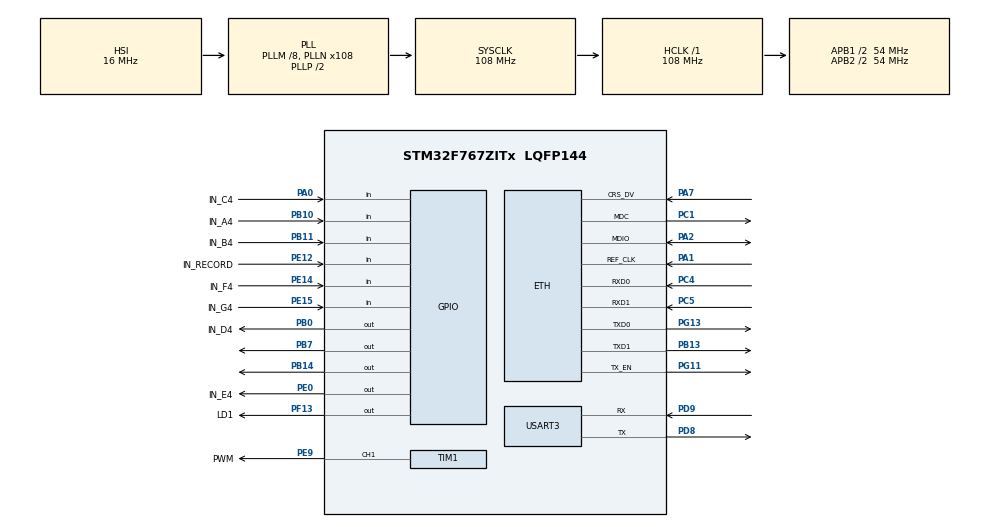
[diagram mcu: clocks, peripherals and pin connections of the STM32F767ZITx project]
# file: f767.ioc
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CORTEX_M7.default_mode_Activation=1
ETH.MediaInterface=HAL_ETH_RMII_MODE
FREERTOS.Tasks01=defaultTask,24,2048,StartDefaultTask,Default,NULL,Dynamic,NULL,NULL
FREERTOS.configTOTAL_HEAP_SIZE=65536
FREERTOS.configUSE_NEWLIB_REENTRANT=1
Mcu.Family=STM32F7
Mcu.Name=STM32F767ZITx
Mcu.Package=LQFP144
NVIC.ETH_IRQn=true\:5\:0\:false\:false\:false\:true\:true\:false\:true
NVIC.PriorityGroup=NVIC_PRIORITYGROUP_4
NVIC.TIM6_DAC_IRQn=true\:15\:0\:false\:false\:true\:false\:false\:true\:true
NVIC.TimeBase=TIM6_DAC_IRQn
NVIC.TimeBaseIP=TIM6
PA0/WKUP.GPIO_Label=IN_C4
PA0/WKUP.GPIO_PuPd=GPIO_PULLDOWN
PA0/WKUP.Signal=GPIO_Input
PA1.Mode=RMII
PA1.Signal=ETH_REF_CLK
PA2.Mode=RMII
PA2.Signal=ETH_MDIO
PA7.Mode=RMII
PA7.Signal=ETH_CRS_DV
PB0.GPIO_Label=IN_D4
PB0.GPIO_PuPd=GPIO_PULLDOWN
PB0.Signal=GPIO_Output
PB10.GPIO_Label=IN_A4
PB10.GPIO_PuPd=GPIO_PULLDOWN
PB10.Signal=GPIO_Input
PB11.GPIO_Label=IN_B4
PB11.GPIO_PuPd=GPIO_PULLDOWN
PB11.Signal=GPIO_Input
PB13.Mode=RMII
PB13.Signal=ETH_TXD1
PB14.Signal=GPIO_Output
PB7.Signal=GPIO_Output
PC1.Mode=RMII
PC1.Signal=ETH_MDC
PC4.Mode=RMII
PC4.Signal=ETH_RXD0
PC5.Mode=RMII
PC5.Signal=ETH_RXD1
PD8.Mode=Asynchronous
PD8.Signal=USART3_TX
PD9.Mode=Asynchronous
PD9.Signal=USART3_RX
PE0.GPIO_Label=IN_E4
PE0.GPIO_PuPd=GPIO_PULLDOWN
PE0.Signal=GPIO_Output
PE12.GPIO_Label=IN_RECORD
PE12.GPIO_PuPd=GPIO_PULLDOWN
PE12.Signal=GPIO_Input
PE14.GPIO_Label=IN_F4
PE14.GPIO_PuPd=GPIO_PULLDOWN
PE14.Signal=GPIO_Input
PE15.GPIO_Label=IN_G4
PE15.GPIO_PuPd=GPIO_PULLDOWN
PE15.Signal=GPIO_Input
PE9.GPIO_Label=PWM
PE9.Signal=S_TIM1_CH1
PF13.GPIO_Label=LD1
PF13.Signal=GPIO_Output
PG11.Mode=RMII
PG11.Signal=ETH_TX_EN
PG13.Mode=RMII
PG13.Signal=ETH_TXD0
PH0/OSC_IN.Mode=HSE-External-Oscillator
PH0/OSC_IN.Signal=RCC_OSC_IN
PH1/OSC_OUT.Mode=HSE-External-Oscillator
PH1/OSC_OUT.Signal=RCC_OSC_OUT
ProjectManager.HeapSize=0x200
ProjectManager.StackSize=0x400
ProjectManager.TargetToolchain=STM32CubeIDE
RCC.48MHZClocksFreq_Value=45000000
RCC.AHBFreq_Value=108000000
RCC.APB1CLKDivider=RCC_HCLK_DIV2
RCC.APB1Freq_Value=54000000
RCC.APB1TimFreq_Value=108000000
RCC.APB2CLKDivider=RCC_HCLK_DIV2
RCC.APB2Freq_Value=54000000
RCC.APB2TimFreq_Value=108000000
RCC.CortexFreq_Value=108000000
RCC.HCLKFreq_Value=108000000
RCC.HSE_VALUE=25000000
RCC.HSI_VALUE=16000000
RCC.LSE_VALUE=32768
RCC.PLLM=8
RCC.PLLN=108
RCC.PLLQ=5
RCC.SYSCLKFreq_VALUE=108000000
RCC.SYSCLKSource=RCC_SYSCLKSOURCE_PLLCLK
RCC.USBFreq_Value=43200000
RCC.VCOOutputFreq_Value=216000000
SH.S_TIM1_CH1.0=TIM1_CH1,PWM Generation1 CH1
TIM1.Channel-PWM\ Generation1\ CH1=TIM_CHANNEL_1
TIM1.Period=3822
TIM1.Prescaler=108-1
USART3.VirtualMode=VM_ASYNC
USART3.VirtualMode-Asynchronous=VM_ASYNC
VP_FREERTOS_VS_CMSIS_V2.Mode=CMSIS_V2
VP_RNG_VS_RNG.Mode=RNG_Activate
VP_SYS_VS_tim6.Mode=TIM6
VP_TIM1_VS_ClockSourceINT.Mode=Internal
board=custom

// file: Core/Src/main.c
/* USER CODE BEGIN Header */
/**
  ******************************************************************************
  * @file           : main.c
  * @brief          : Main program body
  ******************************************************************************
  * @attention
  *
  * Copyright (c) 2024 STMicroelectronics.
  * All rights reserved.
  *
  * This software is licensed under terms that can be found in the LICENSE file
  * in the root directory of this software component.
  * If no LICENSE file comes with this software, it is provided AS-IS.
  *
  ******************************************************************************
  */
/* USER CODE END Header */
#include "main.h"
#include "string.h"
#include "cmsis_os.h"

/* USER CODE BEGIN Includes */
#include "mongoose_glue.h"
#include <stdbool.h>
#include <stdio.h>
/* USER CODE END Includes */

/* USER CODE BEGIN PTD */
typedef struct {
  uint32_t start;
  uint32_t end;
} Interval;

typedef struct {
  Interval intervals[MAX_INTERVALS];
  uint32_t count;
  uint32_t index;
} Recording;

/* USER CODE END PTD */

#if defined ( __ICCARM__ ) /*!< IAR Compiler */
#pragma location=0x2007c000
ETH_DMADescTypeDef  DMARxDscrTab[ETH_RX_DESC_CNT]; /* Ethernet Rx DMA Descriptors */
#pragma location=0x2007c0a0
ETH_DMADescTypeDef  DMATxDscrTab[ETH_TX_DESC_CNT]; /* Ethernet Tx DMA Descriptors */

#elif defined ( __CC_ARM )  /* MDK ARM Compiler */

__attribute__((at(0x2007c000))) ETH_DMADescTypeDef  DMARxDscrTab[ETH_RX_DESC_CNT]; /* Ethernet Rx DMA Descriptors */
__attribute__((at(0x2007c0a0))) ETH_DMADescTypeDef  DMATxDscrTab[ETH_TX_DESC_CNT]; /* Ethernet Tx DMA Descriptors */

#elif defined ( __GNUC__ ) /* GNU Compiler */

ETH_DMADescTypeDef DMARxDscrTab[ETH_RX_DESC_CNT] __attribute__((section(".RxDecripSection"))); /* Ethernet Rx DMA Descriptors */
ETH_DMADescTypeDef DMATxDscrTab[ETH_TX_DESC_CNT] __attribute__((section(".TxDecripSection")));   /* Ethernet Tx DMA Descriptors */
#endif

ETH_TxPacketConfig TxConfig;

ETH_HandleTypeDef heth;

RNG_HandleTypeDef hrng;

TIM_HandleTypeDef htim1;

UART_HandleTypeDef huart3;

/* Definitions for defaultTask */
osThreadId_t defaultTaskHandle;
const osThreadAttr_t defaultTask_attributes = {
  .name = "defaultTask",
  .stack_size = 2048 * 4,
  .priority = (osPriority_t) osPriorityNormal,
};
/* USER CODE BEGIN PV */
Recording recordings[KEYS_COUNT] = {0};
bool recording_active[KEYS_COUNT] = {0};

bool prev_key_states[KEYS_COUNT] = {0};
uint32_t note_timestamps[KEYS_COUNT] = {0};

uint32_t record_start = 0;
uint32_t play_start = 0;

GPIO_TypeDef *ports[KEYS_COUNT] = {IN_C4_GPIO_Port, IN_D4_GPIO_Port, IN_E4_GPIO_Port, IN_F4_GPIO_Port, IN_G4_GPIO_Port, IN_A4_GPIO_Port, IN_B4_GPIO_Port};
uint16_t pins[KEYS_COUNT] = {IN_C4_Pin, IN_D4_Pin, IN_E4_Pin, IN_F4_Pin, IN_G4_Pin, IN_A4_Pin, IN_B4_Pin};
uint16_t notes[KEYS_COUNT] = {NOTE_C4, NOTE_D4, NOTE_E4, NOTE_F4, NOTE_G4, NOTE_A4, NOTE_B4};

uint16_t arr = 0;
uint16_t pwm = 0;
/* USER CODE END PV */

void SystemClock_Config(void);
static void MPU_Config(void);
static void MX_GPIO_Init(void);
static void MX_ETH_Init(void);
static void MX_RNG_Init(void);
static void MX_USART3_UART_Init(void);
static void MX_TIM1_Init(void);
void StartDefaultTask(void *argument);

/* USER CODE BEGIN PFP */

/* USER CODE BEGIN PFP */
void my_get_button_input(struct button_input *data)
{
    // Map your note_timestamps array indices directly to your struct fields
    // 0 = C4, 1 = D4, 2 = E4, 3 = F4, 4 = G4, 5 = A4, 6 = B4
    data->timestamp_C4 = (int)note_timestamps[0]/1000;
    data->timestamp_D4 = (int)note_timestamps[1]/1000;
    data->timestamp_E4 = (int)note_timestamps[2]/1000;
    data->timestamp_F4 = (int)note_timestamps[3]/1000;
    data->timestamp_G4 = (int)note_timestamps[4]/1000;
    data->timestamp_A4 = (int)note_timestamps[5]/1000;
    data->timestamp_B4 = (int)note_timestamps[6]/1000;
}
/* USER CODE END PFP */

/* USER CODE BEGIN 0 */

void compute_arr_and_pwm(uint16_t *arr, uint16_t *pwm, uint16_t note);
void play_sound(uint16_t *arr, uint16_t *pwm, uint16_t note);

bool mg_random(void *buf, size_t len) {  // Use on-board RNG
  for (size_t n = 0; n < len; n += sizeof(uint32_t)) {
    uint32_t r;
    HAL_RNG_GenerateRandomNumber(&hrng, &r);
    memcpy((char *) buf + n, &r, n + sizeof(r) > len ? len - n : sizeof(r));
  }
  return true; // TODO(): ensure successful RNG init, then return on false above
}

int _write(int fd, unsigned char *buf, int len) {
  if (fd == 1 || fd == 2) {                     // stdout or stderr ?
    HAL_UART_Transmit(&huart3, buf, len, 999);  // Print to the UART
  }
  return len;
}

/* USER CODE END 0 */

int main(void)
{

  /* MPU Configuration--------------------------------------------------------*/
  MPU_Config();

  /* MCU Configuration--------------------------------------------------------*/

  /* Reset of all peripherals, Initializes the Flash interface and the Systick. */
  HAL_Init();

  /* Configure the system clock */
  SystemClock_Config();

  /* Initialize all configured peripherals */
  MX_GPIO_Init();
  MX_ETH_Init();
  MX_RNG_Init();
  MX_USART3_UART_Init();
  MX_TIM1_Init();
  /* USER CODE BEGIN 2 */

   HAL_TIM_PWM_Start(&htim1, TIM_CHANNEL_1);
  /* USER CODE END 2 */

  /* Init scheduler */
  osKernelInitialize();

  /* Create the thread(s) */
  /* creation of defaultTask */
  defaultTaskHandle = osThreadNew(StartDefaultTask, NULL, &defaultTask_attributes);

  /* Start scheduler */
  osKernelStart();

  /* We should never get here as control is now taken by the scheduler */

  /* Infinite loop */
  while (1)
  {

	   }
}

void SystemClock_Config(void)
{
  RCC_OscInitTypeDef RCC_OscInitStruct = {0};
  RCC_ClkInitTypeDef RCC_ClkInitStruct = {0};

  /** Configure the main internal regulator output voltage
  */
  __HAL_RCC_PWR_CLK_ENABLE();
  __HAL_PWR_VOLTAGESCALING_CONFIG(PWR_REGULATOR_VOLTAGE_SCALE3);

  /** Initializes the RCC Oscillators according to the specified parameters
  * in the RCC_OscInitTypeDef structure.
  */
  RCC_OscInitStruct.OscillatorType = RCC_OSCILLATORTYPE_HSI;
  RCC_OscInitStruct.HSIState = RCC_HSI_ON;
  RCC_OscInitStruct.HSICalibrationValue = RCC_HSICALIBRATION_DEFAULT;
  RCC_OscInitStruct.PLL.PLLState = RCC_PLL_ON;
  RCC_OscInitStruct.PLL.PLLSource = RCC_PLLSOURCE_HSI;
  RCC_OscInitStruct.PLL.PLLM = 8;
  RCC_OscInitStruct.PLL.PLLN = 108;
  RCC_OscInitStruct.PLL.PLLP = RCC_PLLP_DIV2;
  RCC_OscInitStruct.PLL.PLLQ = 5;
  RCC_OscInitStruct.PLL.PLLR = 2;
  if (HAL_RCC_OscConfig(&RCC_OscInitStruct) != HAL_OK)
  {
    Error_Handler();
  }

  /** Activate the Over-Drive mode
  */
  if (HAL_PWREx_EnableOverDrive() != HAL_OK)
  {
    Error_Handler();
  }

  /** Initializes the CPU, AHB and APB buses clocks
  */
  RCC_ClkInitStruct.ClockType = RCC_CLOCKTYPE_HCLK|RCC_CLOCKTYPE_SYSCLK
                              |RCC_CLOCKTYPE_PCLK1|RCC_CLOCKTYPE_PCLK2;
  RCC_ClkInitStruct.SYSCLKSource = RCC_SYSCLKSOURCE_PLLCLK;
  RCC_ClkInitStruct.AHBCLKDivider = RCC_SYSCLK_DIV1;
  RCC_ClkInitStruct.APB1CLKDivider = RCC_HCLK_DIV2;
  RCC_ClkInitStruct.APB2CLKDivider = RCC_HCLK_DIV2;

  if (HAL_RCC_ClockConfig(&RCC_ClkInitStruct, FLASH_LATENCY_3) != HAL_OK)
  {
    Error_Handler();
  }
}

static void MX_ETH_Init(void)
{

   static uint8_t MACAddr[6];

  heth.Instance = ETH;
  MACAddr[0] = 0x00;
  MACAddr[1] = 0x80;
  MACAddr[2] = 0xE1;
  MACAddr[3] = 0x00;
  MACAddr[4] = 0x00;
  MACAddr[5] = 0x00;
  heth.Init.MACAddr = &MACAddr[0];
  heth.Init.MediaInterface = HAL_ETH_RMII_MODE;
  heth.Init.TxDesc = DMATxDscrTab;
  heth.Init.RxDesc = DMARxDscrTab;
  heth.Init.RxBuffLen = 1524;

  if (HAL_ETH_Init(&heth) != HAL_OK)
  {
    Error_Handler();
  }

  memset(&TxConfig, 0 , sizeof(ETH_TxPacketConfig));
  TxConfig.Attributes = ETH_TX_PACKETS_FEATURES_CSUM | ETH_TX_PACKETS_FEATURES_CRCPAD;
  TxConfig.ChecksumCtrl = ETH_CHECKSUM_IPHDR_PAYLOAD_INSERT_PHDR_CALC;
  TxConfig.CRCPadCtrl = ETH_CRC_PAD_INSERT;

}

static void MX_RNG_Init(void)
{

  hrng.Instance = RNG;
  if (HAL_RNG_Init(&hrng) != HAL_OK)
  {
    Error_Handler();
  }

}

static void MX_TIM1_Init(void)
{

  TIM_ClockConfigTypeDef sClockSourceConfig = {0};
  TIM_MasterConfigTypeDef sMasterConfig = {0};
  TIM_OC_InitTypeDef sConfigOC = {0};
  TIM_BreakDeadTimeConfigTypeDef sBreakDeadTimeConfig = {0};

  htim1.Instance = TIM1;
  htim1.Init.Prescaler = 108-1;
  htim1.Init.CounterMode = TIM_COUNTERMODE_UP;
  htim1.Init.Period = 3822;
  htim1.Init.ClockDivision = TIM_CLOCKDIVISION_DIV1;
  htim1.Init.RepetitionCounter = 0;
  htim1.Init.AutoReloadPreload = TIM_AUTORELOAD_PRELOAD_DISABLE;
  if (HAL_TIM_Base_Init(&htim1) != HAL_OK)
  {
    Error_Handler();
  }
  sClockSourceConfig.ClockSource = TIM_CLOCKSOURCE_INTERNAL;
  if (HAL_TIM_ConfigClockSource(&htim1, &sClockSourceConfig) != HAL_OK)
  {
    Error_Handler();
  }
  if (HAL_TIM_PWM_Init(&htim1) != HAL_OK)
  {
    Error_Handler();
  }
  sMasterConfig.MasterOutputTrigger = TIM_TRGO_RESET;
  sMasterConfig.MasterOutputTrigger2 = TIM_TRGO2_RESET;
  sMasterConfig.MasterSlaveMode = TIM_MASTERSLAVEMODE_DISABLE;
  if (HAL_TIMEx_MasterConfigSynchronization(&htim1, &sMasterConfig) != HAL_OK)
  {
    Error_Handler();
  }
  sConfigOC.OCMode = TIM_OCMODE_PWM1;
  sConfigOC.Pulse = 0;
  sConfigOC.OCPolarity = TIM_OCPOLARITY_HIGH;
  sConfigOC.OCNPolarity = TIM_OCNPOLARITY_HIGH;
  sConfigOC.OCFastMode = TIM_OCFAST_DISABLE;
  sConfigOC.OCIdleState = TIM_OCIDLESTATE_RESET;
  sConfigOC.OCNIdleState = TIM_OCNIDLESTATE_RESET;
  if (HAL_TIM_PWM_ConfigChannel(&htim1, &sConfigOC, TIM_CHANNEL_1) != HAL_OK)
  {
    Error_Handler();
  }
  sBreakDeadTimeConfig.OffStateRunMode = TIM_OSSR_DISABLE;
  sBreakDeadTimeConfig.OffStateIDLEMode = TIM_OSSI_DISABLE;
  sBreakDeadTimeConfig.LockLevel = TIM_LOCKLEVEL_OFF;
  sBreakDeadTimeConfig.DeadTime = 0;
  sBreakDeadTimeConfig.BreakState = TIM_BREAK_DISABLE;
  sBreakDeadTimeConfig.BreakPolarity = TIM_BREAKPOLARITY_HIGH;
  sBreakDeadTimeConfig.BreakFilter = 0;
  sBreakDeadTimeConfig.Break2State = TIM_BREAK2_DISABLE;
  sBreakDeadTimeConfig.Break2Polarity = TIM_BREAK2POLARITY_HIGH;
  sBreakDeadTimeConfig.Break2Filter = 0;
  sBreakDeadTimeConfig.AutomaticOutput = TIM_AUTOMATICOUTPUT_DISABLE;
  if (HAL_TIMEx_ConfigBreakDeadTime(&htim1, &sBreakDeadTimeConfig) != HAL_OK)
  {
    Error_Handler();
  }
  HAL_TIM_MspPostInit(&htim1);

}

static void MX_USART3_UART_Init(void)
{

  huart3.Instance = USART3;
  huart3.Init.BaudRate = 115200;
  huart3.Init.WordLength = UART_WORDLENGTH_8B;
  huart3.Init.StopBits = UART_STOPBITS_1;
  huart3.Init.Parity = UART_PARITY_NONE;
  huart3.Init.Mode = UART_MODE_TX_RX;
  huart3.Init.HwFlowCtl = UART_HWCONTROL_NONE;
  huart3.Init.OverSampling = UART_OVERSAMPLING_16;
  huart3.Init.OneBitSampling = UART_ONE_BIT_SAMPLE_DISABLE;
  huart3.AdvancedInit.AdvFeatureInit = UART_ADVFEATURE_NO_INIT;
  if (HAL_UART_Init(&huart3) != HAL_OK)
  {
    Error_Handler();
  }

}

static void MX_GPIO_Init(void)
{
  GPIO_InitTypeDef GPIO_InitStruct = {0};

  /* GPIO Ports Clock Enable */
  __HAL_RCC_GPIOH_CLK_ENABLE();
  __HAL_RCC_GPIOC_CLK_ENABLE();
  __HAL_RCC_GPIOA_CLK_ENABLE();
  __HAL_RCC_GPIOB_CLK_ENABLE();
  __HAL_RCC_GPIOF_CLK_ENABLE();
  __HAL_RCC_GPIOE_CLK_ENABLE();
  __HAL_RCC_GPIOD_CLK_ENABLE();
  __HAL_RCC_GPIOG_CLK_ENABLE();

  /*Configure GPIO pin Output Level */
  HAL_GPIO_WritePin(GPIOB, IN_D4_Pin|GPIO_PIN_14|GPIO_PIN_7, GPIO_PIN_RESET);

  /*Configure GPIO pin Output Level */
  HAL_GPIO_WritePin(LD1_GPIO_Port, LD1_Pin, GPIO_PIN_RESET);

  /*Configure GPIO pin Output Level */
  HAL_GPIO_WritePin(IN_E4_GPIO_Port, IN_E4_Pin, GPIO_PIN_RESET);

  /*Configure GPIO pin : IN_C4_Pin */
  GPIO_InitStruct.Pin = IN_C4_Pin;
  GPIO_InitStruct.Mode = GPIO_MODE_INPUT;
  GPIO_InitStruct.Pull = GPIO_PULLDOWN;
  HAL_GPIO_Init(IN_C4_GPIO_Port, &GPIO_InitStruct);

  /*Configure GPIO pin : IN_D4_Pin */
  GPIO_InitStruct.Pin = IN_D4_Pin;
  GPIO_InitStruct.Mode = GPIO_MODE_OUTPUT_PP;
  GPIO_InitStruct.Pull = GPIO_PULLDOWN;
  GPIO_InitStruct.Speed = GPIO_SPEED_FREQ_LOW;
  HAL_GPIO_Init(IN_D4_GPIO_Port, &GPIO_InitStruct);

  /*Configure GPIO pin : LD1_Pin */
  GPIO_InitStruct.Pin = LD1_Pin;
  GPIO_InitStruct.Mode = GPIO_MODE_OUTPUT_PP;
  GPIO_InitStruct.Pull = GPIO_NOPULL;
  GPIO_InitStruct.Speed = GPIO_SPEED_FREQ_LOW;
  HAL_GPIO_Init(LD1_GPIO_Port, &GPIO_InitStruct);

  /*Configure GPIO pins : IN_RECORD_Pin IN_F4_Pin IN_G4_Pin */
  GPIO_InitStruct.Pin = IN_RECORD_Pin|IN_F4_Pin|IN_G4_Pin;
  GPIO_InitStruct.Mode = GPIO_MODE_INPUT;
  GPIO_InitStruct.Pull = GPIO_PULLDOWN;
  HAL_GPIO_Init(GPIOE, &GPIO_InitStruct);

  /*Configure GPIO pins : IN_A4_Pin IN_B4_Pin */
  GPIO_InitStruct.Pin = IN_A4_Pin|IN_B4_Pin;
  GPIO_InitStruct.Mode = GPIO_MODE_INPUT;
  GPIO_InitStruct.Pull = GPIO_PULLDOWN;
  HAL_GPIO_Init(GPIOB, &GPIO_InitStruct);

  /*Configure GPIO pins : PB14 PB7 */
  GPIO_InitStruct.Pin = GPIO_PIN_14|GPIO_PIN_7;
  GPIO_InitStruct.Mode = GPIO_MODE_OUTPUT_PP;
  GPIO_InitStruct.Pull = GPIO_NOPULL;
  GPIO_InitStruct.Speed = GPIO_SPEED_FREQ_LOW;
  HAL_GPIO_Init(GPIOB, &GPIO_InitStruct);

  /*Configure GPIO pin : IN_E4_Pin */
  GPIO_InitStruct.Pin = IN_E4_Pin;
  GPIO_InitStruct.Mode = GPIO_MODE_OUTPUT_PP;
  GPIO_InitStruct.Pull = GPIO_PULLDOWN;
  GPIO_InitStruct.Speed = GPIO_SPEED_FREQ_LOW;
  HAL_GPIO_Init(IN_E4_GPIO_Port, &GPIO_InitStruct);

}

/* USER CODE BEGIN 4 */

void compute_arr_and_pwm(uint16_t *arr, uint16_t *pwm, uint16_t note)
{
  if (note == 0) {
    *pwm = 0;
    return;
  }
  *arr = (uint16_t)((TIM1_CLOCK_HZ / ((htim1.Init.Prescaler + 1.0f) * note)) - 1);
  *pwm = ((*arr) + 1) / 2;
}

void play_sound(uint16_t *arr, uint16_t *pwm, uint16_t note)
{
  compute_arr_and_pwm(arr, pwm, note);
  __HAL_TIM_SET_AUTORELOAD(&htim1, *arr);
  __HAL_TIM_SET_COMPARE(&htim1, TIM_CHANNEL_1, *pwm);
}

/* USER CODE END 4 */

void StartDefaultTask(void *argument)
{
  /* USER CODE BEGIN 5 */
  mongoose_init();
  mongoose_set_http_handlers("button_input", my_get_button_input);

  for (;;) {
	  mongoose_poll();

	      // --- 1. ALWAYS DETECT NOTE PRESSES & TIMESTAMPS ---
	      uint32_t current_time = HAL_GetTick();
	      for (int i = 0; i < KEYS_COUNT; i++) {
	        bool on = (HAL_GPIO_ReadPin(ports[i], pins[i]) == GPIO_PIN_SET);

	        // Detect Rising Edge (Note just pressed down)
	        if (on && !prev_key_states[i]) {
	          note_timestamps[i] = current_time; // Updates dashboard timestamp for this note
	        }
	        prev_key_states[i] = on;
	      }

	      // --- 2. CHECK RECORDING START ---
	      if (HAL_GPIO_ReadPin(IN_RECORD_GPIO_Port, IN_RECORD_Pin) && record_start == 0 && play_start == 0) {
	        for (int i = 0; i < KEYS_COUNT; i++) {
	          recordings[i] = (Recording){0};
	          recording_active[i] = false;
	        }

	        record_start = HAL_GetTick();
	        HAL_GPIO_WritePin(LD1_GPIO_Port,LD1_Pin,GPIO_PIN_SET);
	      }

	      // --- 3. RECORD ---
	      if (record_start > 0) {
	        uint32_t elapsed = HAL_GetTick() - record_start;

	        for (int i = 0; i < KEYS_COUNT; i++) {
	          Recording *r = &recordings[i];

	          bool on = prev_key_states[i];
	          if (r->count < MAX_INTERVALS) {
	            if (!recording_active[i] && on) {
	              r->intervals[r->count].start = elapsed;
	              recording_active[i] = true;
	            } else if (recording_active[i] && !on) {
	              r->intervals[r->count].end = elapsed;
	              r->count += 1;
	              recording_active[i] = false;
	            }
	          }
	        }

	        // End recording
	        if (elapsed >= RECORD_TIME) {
	          for (int i = 0; i < KEYS_COUNT; i++) {
	            Recording *r = &recordings[i];

	            if (recording_active[i] && r->count < MAX_INTERVALS) {
	              r->intervals[r->count].end = RECORD_TIME;
	              r->count += 1;
	            }

	            recording_active[i] = false;
	            r->index = 0;
	          }

	          record_start = 0;
	          __HAL_TIM_SET_COMPARE(&htim1, TIM_CHANNEL_1, 0);
	          HAL_GPIO_WritePin(LD1_GPIO_Port,LD1_Pin,GPIO_PIN_RESET);
	          osDelay(1000);

	          play_start = HAL_GetTick();
	          HAL_GPIO_WritePin(LD1_GPIO_Port,LD1_Pin,GPIO_PIN_SET);
	        }
	      }
	      // --- 4. PLAY RECORDING ---
	      else if (play_start > 0) {
	        uint32_t elapsed = HAL_GetTick() - play_start;

	        bool key_was_pressed = false;
	        for (int i = 0; i < KEYS_COUNT && !key_was_pressed; i++) {
	          Recording *r = &recordings[i];

	          while (r->index < r->count && elapsed >= r->intervals[r->index].end) {
	            r->index += 1;
	          }

	          if (r->index < r->count && elapsed >= r->intervals[r->index].start && elapsed < r->intervals[r->index].end) {
	            play_sound(&arr, &pwm, notes[i]);
	            key_was_pressed = true;
	          }
	        }

	        if (!key_was_pressed) {
	          play_sound(&arr, &pwm, NOTE_NULL);
	        }

	        if (elapsed >= RECORD_TIME) {
	          play_start = 0;
	          HAL_GPIO_WritePin(LD1_GPIO_Port,LD1_Pin,GPIO_PIN_RESET);
	        }
	      }
	      // --- 5. NORMAL *** ---
	      if (play_start == 0) {
	        bool key_was_pressed = false;

	        for (int i = 0; i < KEYS_COUNT && !key_was_pressed; i++) {
	          if (prev_key_states[i]) {
	            play_sound(&arr, &pwm, notes[i]);
	            key_was_pressed = true;
	          }
	        }

	        if (!key_was_pressed) {
	          play_sound(&arr, &pwm, NOTE_NULL);
	        }
	      }

    osDelay(1);
  }
  /* Infinite loop */

  /* USER CODE END 5 */
}

 /* MPU Configuration */

void MPU_Config(void)
{
  MPU_Region_InitTypeDef MPU_InitStruct = {0};

  /* Disables the MPU */
  HAL_MPU_Disable();

  /** Initializes and configures the Region and the memory to be protected
  */
  MPU_InitStruct.Enable = MPU_REGION_ENABLE;
  MPU_InitStruct.Number = MPU_REGION_NUMBER0;
  MPU_InitStruct.BaseAddress = 0x0;
  MPU_InitStruct.Size = MPU_REGION_SIZE_4GB;
  MPU_InitStruct.SubRegionDisable = 0x87;
  MPU_InitStruct.TypeExtField = MPU_TEX_LEVEL0;
  MPU_InitStruct.AccessPermission = MPU_REGION_NO_ACCESS;
  MPU_InitStruct.DisableExec = MPU_INSTRUCTION_ACCESS_DISABLE;
  MPU_InitStruct.IsShareable = MPU_ACCESS_SHAREABLE;
  MPU_InitStruct.IsCacheable = MPU_ACCESS_NOT_CACHEABLE;
  MPU_InitStruct.IsBufferable = MPU_ACCESS_NOT_BUFFERABLE;

  HAL_MPU_ConfigRegion(&MPU_InitStruct);
  /* Enables the MPU */
  HAL_MPU_Enable(MPU_PRIVILEGED_DEFAULT);

}

void HAL_TIM_PeriodElapsedCallback(TIM_HandleTypeDef *htim)
{
  if (htim->Instance == TIM6)
  {
    HAL_IncTick();
  }
}

void Error_Handler(void)
{
  __disable_irq();
  while (1)
  {
  }
}
